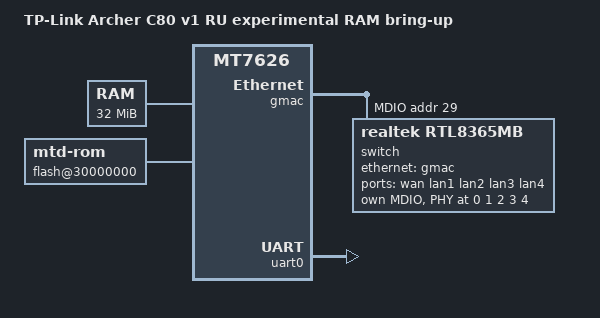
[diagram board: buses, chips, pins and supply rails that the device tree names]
# 0 "mt7626-archer-c80-v1-emi.dts"
# 0 "<built-in>"
# 0 "<command-line>"
# 1 "mt7626-archer-c80-v1-emi.dts"


/dts-v1/;
# 1 "../openwrt-ram1/linux-6.12.113/include/dt-bindings/interrupt-controller/arm-gic.h" 1
# 9 "../openwrt-ram1/linux-6.12.113/include/dt-bindings/interrupt-controller/arm-gic.h"
# 1 "../openwrt-ram1/linux-6.12.113/include/dt-bindings/interrupt-controller/irq.h" 1
# 10 "../openwrt-ram1/linux-6.12.113/include/dt-bindings/interrupt-controller/arm-gic.h" 2
# 5 "mt7626-archer-c80-v1-emi.dts" 2

/ {
    model = "TP-Link Archer C80 v1 RU experimental RAM bring-up";
    compatible = "tplink,archer-c80-v1", "mediatek,mt7626";
    #address-cells = <1>;
    #size-cells = <1>;
    interrupt-parent = <&gic>;

    aliases { serial0 = &uart0; };
    chosen {
        stdout-path = "serial0:115200n8";
        linux,usable-memory-range = <0x40200000 0x01e00000>;
        bootargs = "console=ttyS0,115200n8 earlycon=uart8250,mmio32,0x11002000 loglevel=8 rdinit=/init panic=0 clk_ignore_unused";
    };

    memory@40000000 {
        device_type = "memory";
        reg = <0x40000000 0x02000000>;
    };


    reserved-memory {
        #address-cells = <1>;
        #size-cells = <1>;
        ranges;
        conn_emi: memory@40000000 {
            reg = <0x40000000 0x00200000>;
            no-map;
        };
    };

    cpus {
        #address-cells = <1>;
        #size-cells = <0>;
        cpu@0 {
            device_type = "cpu";
            compatible = "arm,cortex-a7";
            reg = <0>;
        };
    };

    uart_clk: uart-clock {
        compatible = "fixed-clock";
        #clock-cells = <0>;
        clock-frequency = <40000000>;
    };

    timer {
        compatible = "arm,armv7-timer";
        interrupts = <1 13 ((((1 << (1)) - 1) << 8) | 4)>,
                     <1 14 ((((1 << (1)) - 1) << 8) | 4)>,
                     <1 11 ((((1 << (1)) - 1) << 8) | 4)>,
                     <1 10 ((((1 << (1)) - 1) << 8) | 4)>;
        clock-frequency = <20000000>;
    };

    soc {
        compatible = "simple-bus";
        #address-cells = <1>;
        #size-cells = <1>;
        ranges;



        flash@30000000 {
            compatible = "mtd-rom";
            reg = <0x30000000 0x00400000>;
            bank-width = <1>;
        };


        gmac: ethernet@1b100000 {
            compatible = "tplink,c80-ram-pdma";
            reg = <0x1b100000 0x20000>, <0x1b128000 0x200>, <0x1b000000 0x1000>;
            reg-names = "fe", "sgmii", "ethsys";
            interrupt-parent = <&sysirq>;
            interrupts = <0 223 8>;
            tplink,dsa-conduit;
            status = "okay";
            mdio {
                #address-cells = <1>;
                #size-cells = <0>;
                switch@1d {
                    compatible = "realtek,rtl8365mb";
                    reg = <29>;
                    tplink,c80-ram-inherit-hsgmii;
                    ports {
                        #address-cells = <1>;
                        #size-cells = <0>;
                        port@0 { reg = <0>; label = "wan"; phy-mode = "internal"; phy-handle = <&phy0>; };
                        port@1 { reg = <1>; label = "lan1"; phy-mode = "internal"; phy-handle = <&phy1>; };
                        port@2 { reg = <2>; label = "lan2"; phy-mode = "internal"; phy-handle = <&phy2>; };
                        port@3 { reg = <3>; label = "lan3"; phy-mode = "internal"; phy-handle = <&phy3>; };
                        port@4 { reg = <4>; label = "lan4"; phy-mode = "internal"; phy-handle = <&phy4>; };
                        port@6 {
                            reg = <6>;
                            ethernet = <&gmac>;
                            phy-mode = "2500base-x";
                            fixed-link { speed = <2500>; full-duplex; };
                        };
                    };
                    mdio {
                        #address-cells = <1>;
                        #size-cells = <0>;
                        phy0: ethernet-phy@0 { reg = <0>; };
                        phy1: ethernet-phy@1 { reg = <1>; };
                        phy2: ethernet-phy@2 { reg = <2>; };
                        phy3: ethernet-phy@3 { reg = <3>; };
                        phy4: ethernet-phy@4 { reg = <4>; };
                    };
                };
            };
        };


        sysirq: interrupt-controller@10200a80 {
            compatible = "mediatek,mt7626-sysirq", "mediatek,mt6577-sysirq";
            reg = <0x10200a80 0x20>;
            interrupt-controller;
            #interrupt-cells = <3>;
            #address-cells = <0>;
            interrupt-parent = <&gic>;
        };

        gic: interrupt-controller@10310000 {
            compatible = "arm,gic-400";
            reg = <0x10310000 0x1000>, <0x10320000 0x1000>;
            interrupt-controller;
            #interrupt-cells = <3>;
            #address-cells = <0>;
        };

        uart0: serial@11002000 {
            compatible = "mediatek,mt6577-uart";
            reg = <0x11002000 0x400>;
            clocks = <&uart_clk>, <&uart_clk>;
            clock-names = "baud", "bus";

            tplink,bringup-polling;
            status = "okay";
        };
    };
};
